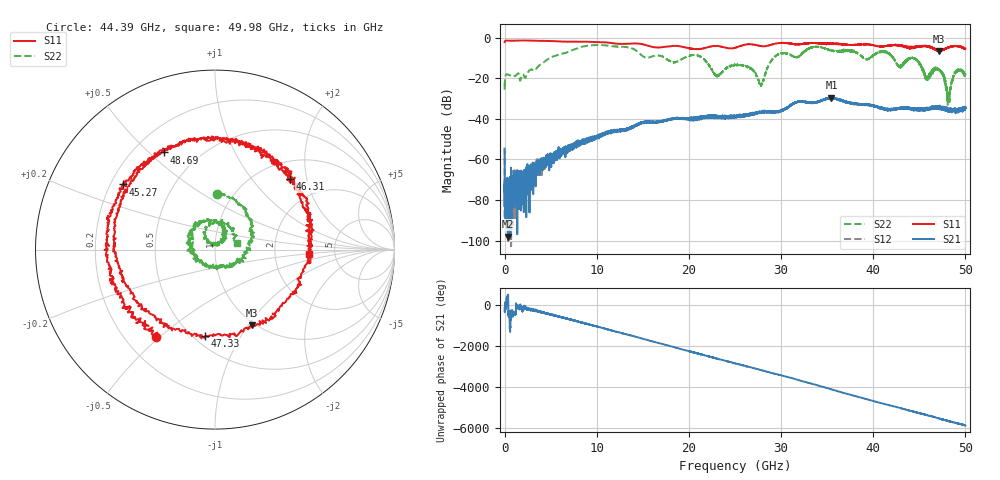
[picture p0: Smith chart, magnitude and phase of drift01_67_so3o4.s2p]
!Created with skrf (http://scikit-rf.org).
# Hz S RI R 50.0
!freq ReS11 ImS11 ReS21 ImS21 ReS12 ImS12 ReS22 ImS22
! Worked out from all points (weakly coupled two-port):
!   10001 points, 300 kHz to 50 GHz, reference 50 ohm
!   highest |S21| = -29.59 dB at 35.46 GHz (marker M1); lowest = -98.0 dB at 355.3 MHz (marker M2)
!   lowest |S11| = -6.6 dB at 47.12 GHz (marker M3), VSWR 2.76, Z = 48.1 - j52 ohm
!   |S11| at or under -10 dB: nowhere
!   |S22| runs from -33.1 to -3.6 dB; largest |S21 - S12| = 0.0038
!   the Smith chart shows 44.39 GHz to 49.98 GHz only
!   S11 on the Smith chart (normalised r, x): 44.39 GHz: 0.33, -0.49; 45.27 GHz: 0.25, +0.30; 46.31 GHz: 1.35, +1.60; 47.33 GHz: 0.57, -0.72; 48.69 GHz: 0.32, +0.56; 49.98 GHz: 3.18, -0.24
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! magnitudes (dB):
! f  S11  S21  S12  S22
! 300 kHz  -2.2  -54.8  -54.2  -22.1
! 355.3 MHz  -1.4  -98.0  -72.4  -18.1
! 8.335 GHz  -1.9  -52.1  -52.7  -4.6
! 16.67 GHz  -4.8  -41.1  -41.3  -8.7
! 20.97 GHz  -5.7  -40.3  -39.0  -8.8
! 23.08 GHz  -4.1  -39.2  -39.0  -18.9
! 25 GHz  -5.0  -39.2  -38.8  -13.7
! 27.85 GHz  -4.2  -36.8  -36.4  -23.1
! 29.46 GHz  -2.9  -36.4  -36.7  -8.9
! 33.34 GHz  -2.6  -32.1  -32.1  -4.7
! 35.46 GHz  -3.1  -29.6  -29.7  -6.2
! 41.67 GHz  -3.8  -35.5  -35.3  -8.0
! 42.9 GHz  -3.7  -34.7  -34.7  -14.2
! 44.39 GHz  -4.6  -35.4  -35.0  -10.2
! 45.27 GHz  -4.0  -35.3  -35.3  -14.8
! 46.31 GHz  -4.8  -34.6  -34.8  -17.6
! 47.12 GHz  -6.6  -34.8  -34.6  -16.0
! 47.33 GHz  -6.3  -35.3  -34.3  -16.5
! 48.13 GHz  -4.8  -35.2  -35.1  -28.4
! 48.69 GHz  -4.3  -35.6  -35.5  -18.8
! 49.98 GHz  -5.6  -35.1  -34.8  -18.0
! 50 GHz  -5.4  -34.4  -34.6  -18.3
